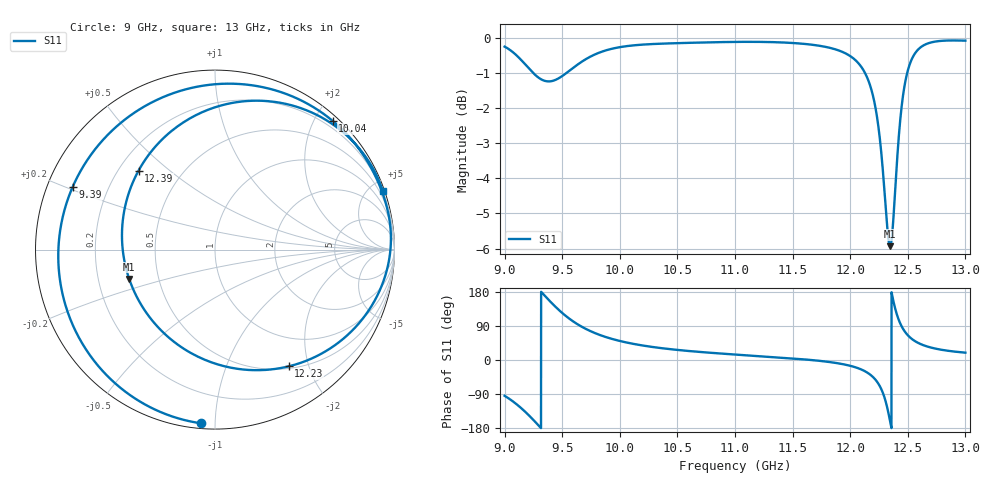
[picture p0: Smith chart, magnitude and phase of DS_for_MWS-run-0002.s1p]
! TOUCHSTONE file generated by CST DESIGN STUDIO
! Date and time: Tue Feb  4 18:45:04 2025
! Project name: C:\Work\MatlabApps\UnitCellOptimizationMatlab\CST\unitcell.cst
! Tree item: Tasks\Sweep1\SPara1\S-Parameters
! Header version: 2024
! Port assignment regex: !\s*Touchstone port\s*([0-9]+)\s*=\s*(CST MWS port|CST DES external port|CST DES block port)\s*(.+)\s* \(\"(.*)\"\)(\s*mode\s*([0-9]+))?.*
! Touchstone port assignment:
! Touchstone port 1 = CST DES external port 1 ("")
# GHz S MA R 50
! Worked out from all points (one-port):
!   4001 points, 9 GHz to 13 GHz, reference 50 ohm
!   lowest |S11| = -5.9 dB at 12.35 GHz (marker M1), VSWR 3.04, Z = 16.8 - j7.42 ohm
!   |S11| at or under -10 dB: nowhere
!   S11 on the Smith chart (normalised r, x): 9 GHz: 0.03, -0.92; 9.39 GHz: 0.07, +0.21; 10.04 GHz: 0.09, +2.26; 12.23 GHz: 0.53, -1.69; 12.39 GHz: 0.28, +0.40; 13 GHz: 0.17, +5.85
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9  0.9711 -94.5
9.121  0.9377 -121.0
9.238  0.8943 -154.5
9.313  0.8733 -178.7
9.39  0.8666 156.2
9.5  0.8819 124.1
9.584  0.903 104.2
9.681  0.9268 85.9
9.83  0.9533 65.7
10  0.9694 50.2
10.037  0.9715 47.6
10.5  0.9822 26.6
11  0.9862 14.5
11.5  0.9827 4.1
12  0.9415 -15.3
12.143  0.8808 -32.2
12.234  0.7692 -57.7
12.296  0.6097 -97.3
12.32  0.541 -123.7
12.346  0.5053 -161.0
12.368  0.5337 165.3
12.392  0.6126 134.0
12.415  0.6993 111.2
12.439  0.7775 93.4
12.5  0.8978 65.4
12.569  0.9531 48.6
12.661  0.9795 36.4
13  0.9902 19.4
